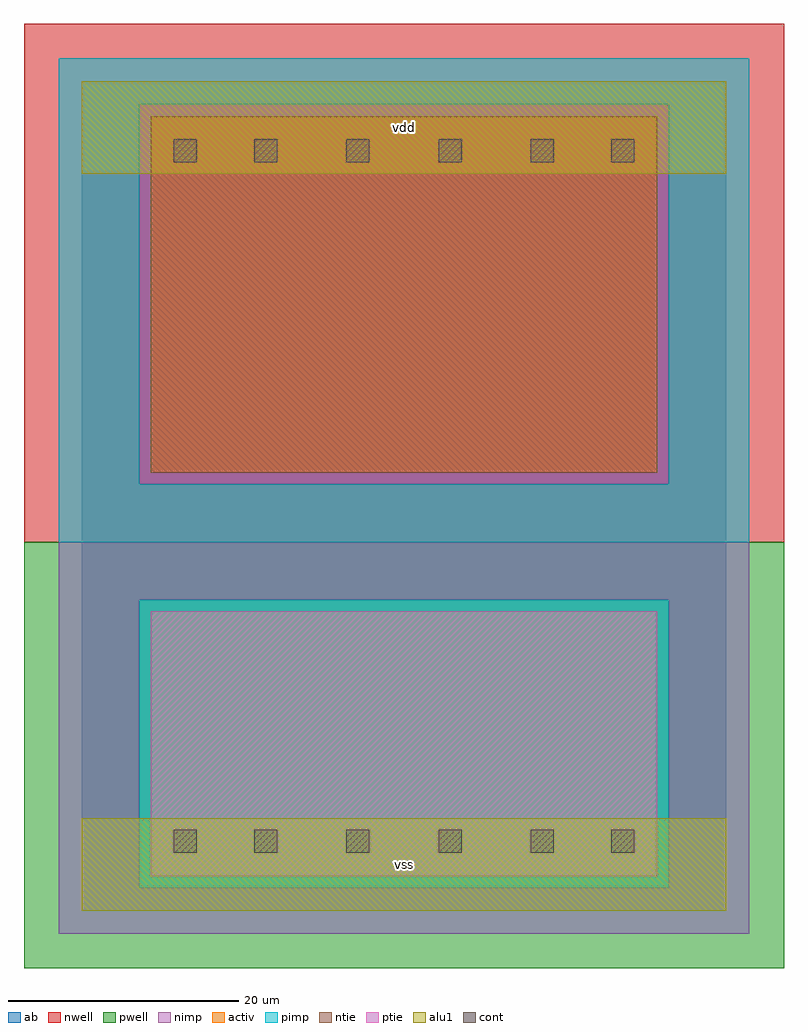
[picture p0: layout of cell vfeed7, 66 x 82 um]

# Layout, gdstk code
import gdstk
lib = gdstk.Library(unit=1e-6, precision=1e-09)
def R(c, l, rs):  # rectangles x0, y0, x1, y1
    for r in rs: c.add(gdstk.rectangle(r[:2], r[2:], *l))
def A(c, l, x, y, w, h, nx, ny, dx, dy):  # array of equal rectangles
    R(c, l, [(x+i*dx, y+j*dy, x+i*dx+w, y+j*dy+h) for i in range(nx) for j in range(ny)])
ntie = (5, 0)
ptie = (6, 0)
cont = (25, 0)
pwell = (41, 0)
nwell = (42, 0)
activ = (43, 0)
pimp = (44, 0)
nimp = (45, 0)
alu1 = (49, 0)
ab = (63, 0)

vfeed7 = lib.new_cell('vfeed7')
R(vfeed7, ntie, [(6,38,50,69)])
R(vfeed7, ptie, [(6,3,50,26)])
A(vfeed7, cont, 15, 5, 2, 2, 4, 2, 8, 60)
R(vfeed7, cont, [(8,5,10,7), (46,5,48,7), (8,65,10,67), (46,65,48,67)])
R(vfeed7, pwell, [(-5,-5,61,32)])
R(vfeed7, nwell, [(-5,32,61,77)])
R(vfeed7, activ, [(6,3,50,26), (6,38,50,69)])
R(vfeed7, pimp, [(5,2,51,27), (-2,32,58,37), (-2,37,5,70), (51,37,58,70), (-2,70,58,74)])
R(vfeed7, nimp, [(-2,-2,58,2), (-2,2,5,27), (51,2,58,27), (-2,27,58,32), (5,37,51,70)])
R(vfeed7, alu1, [(0,0,56,8), (0,64,56,72)])
R(vfeed7, ab, [(0,0,56,72)])
vfeed7.add(gdstk.Label('vss', (28,4), layer=49, texttype=0))
vfeed7.add(gdstk.Label('vdd', (28,68), layer=49, texttype=0))

lib.write_gds('vfeed7.gds')
